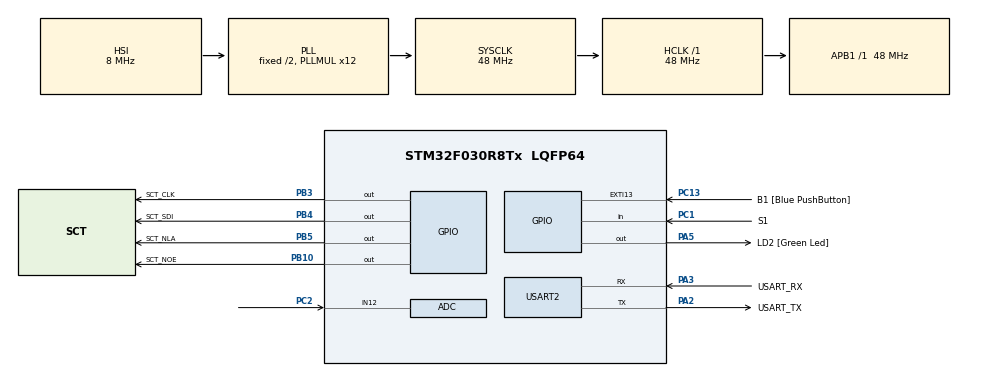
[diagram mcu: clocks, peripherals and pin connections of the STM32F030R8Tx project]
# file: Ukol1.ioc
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Mcu.Family=STM32F0
Mcu.Name=STM32F030R8Tx
Mcu.Package=LQFP64
PA13.GPIO_Label=TMS
PA13.Mode=Serial_Wire
PA13.Signal=SYS_SWDIO
PA14.GPIO_Label=TCK
PA14.Mode=Serial_Wire
PA14.Signal=SYS_SWCLK
PA2.GPIO_Label=USART_TX
PA2.GPIO_Mode=GPIO_MODE_AF_PP
PA2.GPIO_PuPd=GPIO_NOPULL
PA2.GPIO_Speed=GPIO_SPEED_FREQ_LOW
PA2.Mode=Asynchronous
PA2.Signal=USART2_TX
PA3.GPIO_Label=USART_RX
PA3.GPIO_Mode=GPIO_MODE_AF_PP
PA3.GPIO_PuPd=GPIO_NOPULL
PA3.GPIO_Speed=GPIO_SPEED_FREQ_LOW
PA3.Mode=Asynchronous
PA3.Signal=USART2_RX
PA5.GPIO_Label=LD2 [Green Led]
PA5.GPIO_Mode=GPIO_MODE_OUTPUT_PP
PA5.GPIO_PuPd=GPIO_NOPULL
PA5.GPIO_Speed=GPIO_SPEED_FREQ_LOW
PA5.Signal=GPIO_Output
PB10.GPIO_Label=SCT_NOE
PB10.Signal=GPIO_Output
PB3.GPIO_Label=SCT_CLK
PB3.Signal=GPIO_Output
PB4.GPIO_Label=SCT_SDI
PB4.Signal=GPIO_Output
PB5.GPIO_Label=SCT_NLA
PB5.Signal=GPIO_Output
PC1.GPIO_Label=S1
PC1.GPIO_PuPd=GPIO_PULLUP
PC1.Signal=GPIO_Input
PC13.GPIO_Label=B1 [Blue PushButton]
PC13.GPIO_ModeDefaultEXTI=GPIO_MODE_IT_FALLING
PC13.Signal=GPXTI13
PC14-OSC32_IN.Mode=LSE-External-Oscillator
PC14-OSC32_IN.Signal=RCC_OSC32_IN
PC15-OSC32_OUT.Mode=LSE-External-Oscillator
PC15-OSC32_OUT.Signal=RCC_OSC32_OUT
PC2.Mode=IN12
PC2.Signal=ADC_IN12
PF0-OSC_IN.Mode=HSE-External-Clock-Source
PF0-OSC_IN.Signal=RCC_OSC_IN
PF1-OSC_OUT.Signal=RCC_OSC_OUT
ProjectManager.HeapSize=0x200
ProjectManager.StackSize=0x400
ProjectManager.TargetToolchain=STM32CubeIDE
RCC.AHBFreq_Value=48000000
RCC.APB1Freq_Value=48000000
RCC.APB1TimFreq_Value=48000000
RCC.HCLKFreq_Value=48000000
RCC.PLLMUL=RCC_PLL_MUL12
RCC.SYSCLKFreq_VALUE=48000000
RCC.SYSCLKSource=RCC_SYSCLKSOURCE_PLLCLK
USART2.VirtualMode-Asynchronous=VM_ASYNC
board=NUCLEO-F030R8

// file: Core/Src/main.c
/* USER CODE BEGIN Header */
/**
 ******************************************************************************
 * @file           : main.c
 * @brief          : Main program body
 ******************************************************************************
 * @attention
 *
 * Copyright (c) 2024 STMicroelectronics.
 * All rights reserved.
 *
 * This software is licensed under terms that can be found in the LICENSE file
 * in the root directory of this software component.
 * If no LICENSE file comes with this software, it is provided AS-IS.
 *
 ******************************************************************************
 */
/* USER CODE END Header */
#include "main.h"

/* USER CODE BEGIN Includes */
#include "sct.h"
#include <stdlib.h>
/* USER CODE END Includes */

/* USER CODE BEGIN PD */
#define LED_DELAY 200
/* USER CODE END PD */

ADC_HandleTypeDef hadc;

UART_HandleTypeDef huart2;

void SystemClock_Config(void);
static void MX_GPIO_Init(void);
static void MX_USART2_UART_Init(void);
static void MX_ADC_Init(void);
/* USER CODE BEGIN PFP */
int Random1to6(void)
{
	return (rand() % 6) + 1;
}

int Random3 (void)
{
	int segment1 = Random1to6();
	int segment2 = Random1to6();
	int segment3 = Random1to6();

	return (100*segment1 + 10*segment2 + segment3);
}

/* USER CODE END PFP */

int main(void)
{

  /* MCU Configuration--------------------------------------------------------*/

  /* Reset of all peripherals, Initializes the Flash interface and the Systick. */
  HAL_Init();

  /* Configure the system clock */
  SystemClock_Config();

  /* Initialize all configured peripherals */
  MX_GPIO_Init();
  MX_USART2_UART_Init();
  MX_ADC_Init();
  /* USER CODE BEGIN 2 */
	sct_init();

  /* USER CODE END 2 */

  /* Infinite loop */
	while (1)
	{

    /* USER CODE BEGIN 3 */

		//uint8_t LedPos = 0b11000000;

		//for(i = 1, i <= 6; i++)
		//{
		//	sct_universal_bargraph(LedPos);
		//	LedPos >>= 1;
		//	HAL_Delay(LED_DELAY);
		//}
		//
		//for(i = 1, i <= 6; i++)
		//{
		//	sct_universal_bargraph(LedPos);
		//	LedPos <<= 1;
		//	HAL_Delay(LED_DELAY);
		//}

		// -------------------------------------------------- /

		uint8_t buttonWasPressed = 0;
		uint16_t randomNumber;
		uint16_t delayValue = 20;

		while(buttonWasPressed == 0)
		{
			randomNumber = Random3();
			HAL_Delay(delayValue);
			sct_value(randomNumber,0 );
			if(HAL_GPIO_ReadPin(S1_GPIO_Port, S1_Pin) == 0)
			{
				buttonWasPressed = 1;
			}
		}

		for(uint16_t i = 0; i < 15; i++)
		{

			randomNumber = Random3();
			HAL_Delay(delayValue);
			delayValue += 10;

			sct_value(randomNumber,0 );
		}
		HAL_Delay(5000);

	}
  /* USER CODE END 3 */
}

void SystemClock_Config(void)
{
  RCC_OscInitTypeDef RCC_OscInitStruct = {0};
  RCC_ClkInitTypeDef RCC_ClkInitStruct = {0};

  /** Initializes the RCC Oscillators according to the specified parameters
  * in the RCC_OscInitTypeDef structure.
  */
  RCC_OscInitStruct.OscillatorType = RCC_OSCILLATORTYPE_HSI|RCC_OSCILLATORTYPE_HSI14;
  RCC_OscInitStruct.HSIState = RCC_HSI_ON;
  RCC_OscInitStruct.HSI14State = RCC_HSI14_ON;
  RCC_OscInitStruct.HSICalibrationValue = RCC_HSICALIBRATION_DEFAULT;
  RCC_OscInitStruct.HSI14CalibrationValue = 16;
  RCC_OscInitStruct.PLL.PLLState = RCC_PLL_ON;
  RCC_OscInitStruct.PLL.PLLSource = RCC_PLLSOURCE_HSI;
  RCC_OscInitStruct.PLL.PLLMUL = RCC_PLL_MUL12;
  RCC_OscInitStruct.PLL.PREDIV = RCC_PREDIV_DIV1;
  if (HAL_RCC_OscConfig(&RCC_OscInitStruct) != HAL_OK)
  {
    Error_Handler();
  }

  /** Initializes the CPU, AHB and APB buses clocks
  */
  RCC_ClkInitStruct.ClockType = RCC_CLOCKTYPE_HCLK|RCC_CLOCKTYPE_SYSCLK
                              |RCC_CLOCKTYPE_PCLK1;
  RCC_ClkInitStruct.SYSCLKSource = RCC_SYSCLKSOURCE_PLLCLK;
  RCC_ClkInitStruct.AHBCLKDivider = RCC_SYSCLK_DIV1;
  RCC_ClkInitStruct.APB1CLKDivider = RCC_HCLK_DIV1;

  if (HAL_RCC_ClockConfig(&RCC_ClkInitStruct, FLASH_LATENCY_1) != HAL_OK)
  {
    Error_Handler();
  }
}

static void MX_ADC_Init(void)
{

  ADC_ChannelConfTypeDef sConfig = {0};

  /** Configure the global features of the ADC (Clock, Resolution, Data Alignment and number of conversion)
  */
  hadc.Instance = ADC1;
  hadc.Init.ClockPrescaler = ADC_CLOCK_ASYNC_DIV1;
  hadc.Init.Resolution = ADC_RESOLUTION_12B;
  hadc.Init.DataAlign = ADC_DATAALIGN_RIGHT;
  hadc.Init.ScanConvMode = ADC_SCAN_DIRECTION_FORWARD;
  hadc.Init.EOCSelection = ADC_EOC_SINGLE_CONV;
  hadc.Init.LowPowerAutoWait = DISABLE;
  hadc.Init.LowPowerAutoPowerOff = DISABLE;
  hadc.Init.ContinuousConvMode = DISABLE;
  hadc.Init.DiscontinuousConvMode = DISABLE;
  hadc.Init.ExternalTrigConv = ADC_SOFTWARE_START;
  hadc.Init.ExternalTrigConvEdge = ADC_EXTERNALTRIGCONVEDGE_NONE;
  hadc.Init.DMAContinuousRequests = DISABLE;
  hadc.Init.Overrun = ADC_OVR_DATA_PRESERVED;
  if (HAL_ADC_Init(&hadc) != HAL_OK)
  {
    Error_Handler();
  }

  /** Configure for the selected ADC regular channel to be converted.
  */
  sConfig.Channel = ADC_CHANNEL_12;
  sConfig.Rank = ADC_RANK_CHANNEL_NUMBER;
  sConfig.SamplingTime = ADC_SAMPLETIME_1CYCLE_5;
  if (HAL_ADC_ConfigChannel(&hadc, &sConfig) != HAL_OK)
  {
    Error_Handler();
  }

}

static void MX_USART2_UART_Init(void)
{

  huart2.Instance = USART2;
  huart2.Init.BaudRate = 38400;
  huart2.Init.WordLength = UART_WORDLENGTH_8B;
  huart2.Init.StopBits = UART_STOPBITS_1;
  huart2.Init.Parity = UART_PARITY_NONE;
  huart2.Init.Mode = UART_MODE_TX_RX;
  huart2.Init.HwFlowCtl = UART_HWCONTROL_NONE;
  huart2.Init.OverSampling = UART_OVERSAMPLING_16;
  huart2.Init.OneBitSampling = UART_ONE_BIT_SAMPLE_DISABLE;
  huart2.AdvancedInit.AdvFeatureInit = UART_ADVFEATURE_NO_INIT;
  if (HAL_UART_Init(&huart2) != HAL_OK)
  {
    Error_Handler();
  }

}

static void MX_GPIO_Init(void)
{
  GPIO_InitTypeDef GPIO_InitStruct = {0};

  /* GPIO Ports Clock Enable */
  __HAL_RCC_GPIOC_CLK_ENABLE();
  __HAL_RCC_GPIOF_CLK_ENABLE();
  __HAL_RCC_GPIOA_CLK_ENABLE();
  __HAL_RCC_GPIOB_CLK_ENABLE();

  /*Configure GPIO pin Output Level */
  HAL_GPIO_WritePin(LD2_GPIO_Port, LD2_Pin, GPIO_PIN_RESET);

  /*Configure GPIO pin Output Level */
  HAL_GPIO_WritePin(GPIOB, SCT_NOE_Pin|SCT_CLK_Pin|SCT_SDI_Pin|SCT_NLA_Pin, GPIO_PIN_RESET);

  /*Configure GPIO pin : B1_Pin */
  GPIO_InitStruct.Pin = B1_Pin;
  GPIO_InitStruct.Mode = GPIO_MODE_IT_FALLING;
  GPIO_InitStruct.Pull = GPIO_NOPULL;
  HAL_GPIO_Init(B1_GPIO_Port, &GPIO_InitStruct);

  /*Configure GPIO pin : S1_Pin */
  GPIO_InitStruct.Pin = S1_Pin;
  GPIO_InitStruct.Mode = GPIO_MODE_INPUT;
  GPIO_InitStruct.Pull = GPIO_PULLUP;
  HAL_GPIO_Init(S1_GPIO_Port, &GPIO_InitStruct);

  /*Configure GPIO pin : LD2_Pin */
  GPIO_InitStruct.Pin = LD2_Pin;
  GPIO_InitStruct.Mode = GPIO_MODE_OUTPUT_PP;
  GPIO_InitStruct.Pull = GPIO_NOPULL;
  GPIO_InitStruct.Speed = GPIO_SPEED_FREQ_LOW;
  HAL_GPIO_Init(LD2_GPIO_Port, &GPIO_InitStruct);

  /*Configure GPIO pins : SCT_NOE_Pin SCT_CLK_Pin SCT_SDI_Pin SCT_NLA_Pin */
  GPIO_InitStruct.Pin = SCT_NOE_Pin|SCT_CLK_Pin|SCT_SDI_Pin|SCT_NLA_Pin;
  GPIO_InitStruct.Mode = GPIO_MODE_OUTPUT_PP;
  GPIO_InitStruct.Pull = GPIO_NOPULL;
  GPIO_InitStruct.Speed = GPIO_SPEED_FREQ_LOW;
  HAL_GPIO_Init(GPIOB, &GPIO_InitStruct);

}

void Error_Handler(void)
{
	__disable_irq();
	while (1)
	{
	}
}
